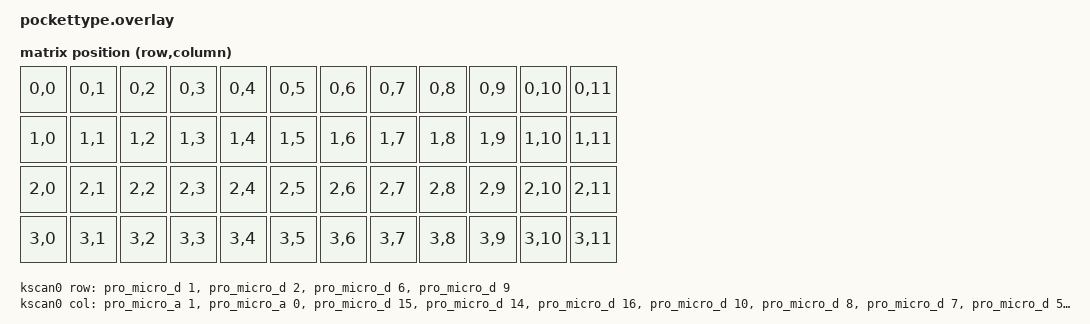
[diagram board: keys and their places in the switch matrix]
/*
 * Copyright (c) 2020 The ZMK Contributors
 *
 * SPDX-License-Identifier: MIT
 */

#include <dt-bindings/zmk/matrix_transform.h>

/ {
	leds {
		compatible = "gpio-leds";
		actled: led_a {
			gpios = <&pro_micro_a 3 GPIO_ACTIVE_HIGH>;
			label = "ACT LED";
		};
		powerled: led_p {
			gpios = <&pro_micro_a 2 GPIO_ACTIVE_HIGH>;
			label = "PWR LED";
		};
	};

	kscan0: kscan {
		compatible = "zmk,kscan-gpio-matrix";
		label = "KSCAN";

		diode-direction = "col2row";

		col-gpios
			= <&pro_micro_a 1 GPIO_ACTIVE_HIGH>
			, <&pro_micro_a 0 GPIO_ACTIVE_HIGH>
			, <&pro_micro_d 15 GPIO_ACTIVE_HIGH>
			, <&pro_micro_d 14 GPIO_ACTIVE_HIGH>
			, <&pro_micro_d 16 GPIO_ACTIVE_HIGH>
			, <&pro_micro_d 10 GPIO_ACTIVE_HIGH>
			, <&pro_micro_d 8 GPIO_ACTIVE_HIGH>
			, <&pro_micro_d 7 GPIO_ACTIVE_HIGH>
			, <&pro_micro_d 5 GPIO_ACTIVE_HIGH>
			, <&pro_micro_d 4 GPIO_ACTIVE_HIGH>
			, <&pro_micro_d 3 GPIO_ACTIVE_HIGH>
			, <&pro_micro_d 0 GPIO_ACTIVE_HIGH>
			;

		row-gpios
			= <&pro_micro_d 1 (GPIO_ACTIVE_HIGH | GPIO_PULL_DOWN)>
			, <&pro_micro_d 2 (GPIO_ACTIVE_HIGH | GPIO_PULL_DOWN)>
			, <&pro_micro_d 6 (GPIO_ACTIVE_HIGH | GPIO_PULL_DOWN)>
			, <&pro_micro_d 9 (GPIO_ACTIVE_HIGH | GPIO_PULL_DOWN)>
			;
	};

	default_transform: keymap_transform_0 {
		compatible = "zmk,matrix-transform";
		columns = <12>;
		rows = <4>;

		map = <
RC(0,0) RC(0,1) RC(0,2) RC(0,3) RC(0,4) RC(0,5) RC(0,6) RC(0,7) RC(0,8) RC(0,9) RC(0,10) RC(0,11)
RC(1,0) RC(1,1) RC(1,2) RC(1,3) RC(1,4) RC(1,5) RC(1,6) RC(1,7) RC(1,8) RC(1,9) RC(1,10) RC(1,11)
RC(2,0) RC(2,1) RC(2,2) RC(2,3) RC(2,4) RC(2,5) RC(2,6) RC(2,7) RC(2,8) RC(2,9) RC(2,10) RC(2,11)
RC(3,0) RC(3,1) RC(3,2) RC(3,3) RC(3,4) RC(3,5) RC(3,6) RC(3,7) RC(3,8) RC(3,9) RC(3,10) RC(3,11)
		>;
	};

	chosen {
		zmk,kscan = &kscan0;
		zmk,matrix_transform = &default_transform;
	};
};
